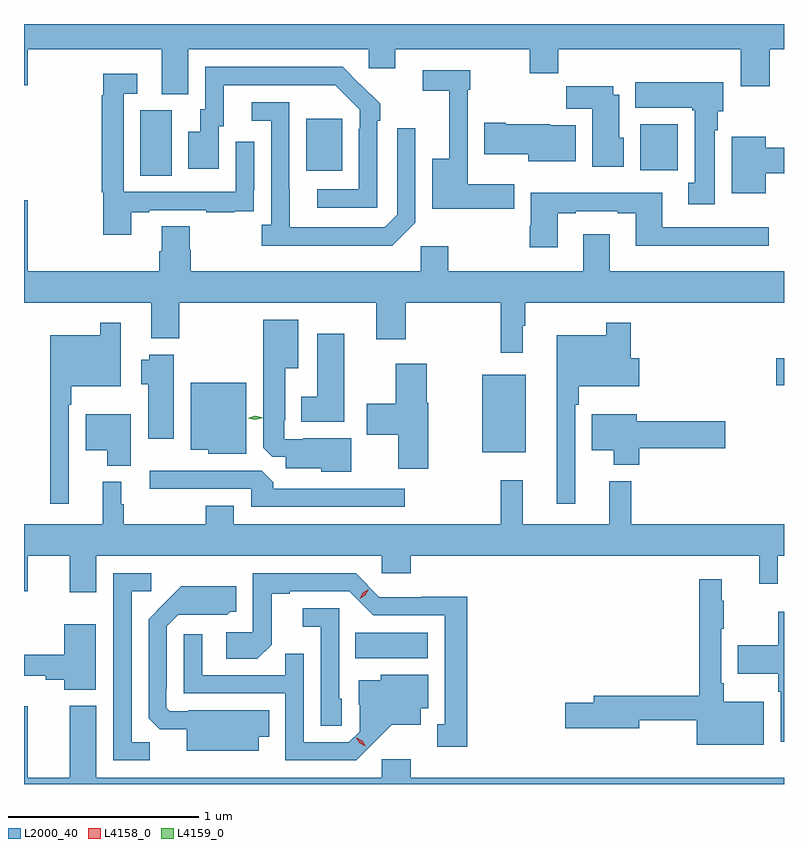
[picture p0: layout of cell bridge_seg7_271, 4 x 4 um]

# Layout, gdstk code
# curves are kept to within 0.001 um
import gdstk
lib = gdstk.Library(unit=1e-6, precision=1e-09)
def R(c, l, rs):  # rectangles x0, y0, x1, y1
    for r in rs: c.add(gdstk.rectangle(r[:2], r[2:], *l))
def P(c, l, *ps):  # polygons
    for p in ps: c.add(gdstk.Polygon(p, *l))
L2000_40 = (2000, 40)
L4158_0 = (4158, 0)
L4159_0 = (4159, 0)

bridge_seg7_271 = lib.new_cell('bridge_seg7_271')
R(bridge_seg7_271, L2000_40, [(142.918,1026.716,143.299,1026.85), (143.588,1027.799,143.815,1028.209), (145.134,1028.153,145.175,1028.295), (141.788,1029.256,141.952,1029.6), (142.661,1029.281,142.849,1029.555), (144.419,1029.284,144.616,1029.526)])
P(bridge_seg7_271, L2000_40, [(141.175,1029.732),(141.196,1029.732),(141.196,1029.92),(141.899,1029.92),(141.899,1029.685),(142.039,1029.685),(142.039,1029.92),(142.989,1029.92),(142.989,1029.822),(143.128,1029.822),(143.128,1029.92),(143.836,1029.92),(143.836,1029.796),(143.987,1029.796),(143.987,1029.92),(144.947,1029.92),(144.947,1029.726),(145.1,1029.726),(145.1,1029.92),(145.175,1029.92),(145.175,1030.054),(141.175,1030.054)],
  [(143.034,1029.545),(143.049,1029.545),(143.049,1029.633),(142.852,1029.828),(142.128,1029.828),(142.128,1029.606),(142.103,1029.606),(142.103,1029.487),(142.04,1029.487),(142.04,1029.291),(142.201,1029.291),(142.201,1029.516),(142.225,1029.516),(142.225,1029.732),(142.813,1029.732),(142.941,1029.603),(142.941,1029.503),(142.938,1029.503),(142.938,1029.183),(142.719,1029.183),(142.719,1029.087),(143.034,1029.087)],
  [(143.755,1029.211),(143.511,1029.211),(143.511,1029.707),(143.524,1029.707),(143.524,1029.81),(143.274,1029.81),(143.274,1029.702),(143.414,1029.702),(143.414,1029.346),(143.324,1029.346),(143.324,1029.082),(143.755,1029.082)],
  [(141.739,1029.063),(141.835,1029.063),(141.835,1029.075),(142.135,1029.075),(142.135,1029.063),(142.283,1029.063),(142.283,1029.069),(142.385,1029.069),(142.385,1029.178),(142.386,1029.178),(142.386,1029.433),(142.29,1029.433),(142.29,1029.171),(141.699,1029.171),(141.699,1029.687),(141.772,1029.687),(141.772,1029.793),(141.591,1029.793),(141.591,1029.68),(141.583,1029.68),(141.583,1029.168),(141.591,1029.168),(141.591,1028.946),(141.739,1028.946)],
  [(144.811,1029.494),(144.826,1029.494),(144.826,1029.594),(144.856,1029.594),(144.856,1029.748),(144.392,1029.748),(144.392,1029.614),(144.691,1029.614),(144.691,1029.601),(144.704,1029.601),(144.704,1029.218),(144.671,1029.218),(144.671,1029.105),(144.811,1029.105)],
  [(144.331,1029.456),(144.307,1029.456),(144.307,1029.682),(144.277,1029.682),(144.277,1029.727),(144.028,1029.727),(144.028,1029.608),(144.167,1029.608),(144.167,1029.302),(144.331,1029.302)],
  [(143.235,1029.009),(143.235,1029.505),(143.139,1029.505),(143.139,1029.051),(143.073,1028.985),(142.573,1028.985),(142.572,1029.642),(142.374,1029.642),(142.374,1029.546),(142.476,1029.546),(142.476,1028.998),(142.425,1028.998),(142.425,1028.888),(143.114,1028.888)],
  [(144.079,1029.52),(143.946,1029.52),(143.946,1029.526),(143.71,1029.526),(143.71,1029.534),(143.598,1029.534),(143.598,1029.368),(143.828,1029.368),(143.828,1029.332),(144.079,1029.332)],
  [(145.078,1029.268),(145.175,1029.268),(145.175,1029.404),(145.078,1029.404),(145.078,1029.46),(144.899,1029.46),(144.899,1029.164),(145.078,1029.164)],
  [(143.983,1029.057),(144.079,1029.057),(144.079,1029.069),(144.299,1029.069),(144.299,1029.057),(144.395,1029.057),(144.395,1028.888),(145.096,1028.888),(145.096,1028.985),(144.535,1028.985),(144.535,1029.166),(143.843,1029.166),(143.843,1028.993),(143.836,1028.993),(143.836,1028.88),(143.983,1028.88)],
  [(143.8,1028.465),(143.812,1028.465),(143.812,1028.588),(145.175,1028.588),(145.175,1028.752),(144.259,1028.752),(144.259,1028.947),(144.119,1028.947),(144.119,1028.752),(143.409,1028.752),(143.409,1028.884),(143.262,1028.884),(143.262,1028.752),(142.052,1028.752),(142.052,1028.865),(142.047,1028.865),(142.047,1028.99),(141.899,1028.99),(141.899,1028.858),(141.887,1028.858),(141.887,1028.752),(141.196,1028.752),(141.196,1029.127),(141.175,1029.127),(141.175,1028.588),(141.845,1028.588),(141.845,1028.399),(141.993,1028.399),(141.993,1028.588),(143.03,1028.588),(143.03,1028.394),(143.183,1028.394),(143.183,1028.588),(143.683,1028.588),(143.683,1028.325),(143.8,1028.325)],
  [(142.897,1027.873),(142.645,1027.873),(142.645,1027.869),(142.545,1027.869),(142.545,1027.969),(142.549,1027.969),(142.549,1028.243),(142.618,1028.243),(142.618,1028.497),(142.433,1028.497),(142.433,1027.825),(142.482,1027.776),(142.553,1027.776),(142.553,1027.715),(142.74,1027.715),(142.74,1027.697),(142.897,1027.697)],
  [(144.075,1028.051),(144.095,1028.051),(144.095,1028.147),(144.412,1028.147),(144.412,1028.295),(144.368,1028.295),(144.368,1028.482),(144.24,1028.482),(144.24,1028.416),(143.978,1028.416),(143.978,1027.53),(144.075,1027.53)],
  [(141.411,1028.051),(141.424,1028.051),(141.424,1028.147),(141.684,1028.147),(141.684,1028.482),(141.576,1028.482),(141.576,1028.416),(141.314,1028.416),(141.314,1027.53),(141.411,1027.53)],
  [(142.861,1028.425),(142.718,1028.425),(142.718,1028.092),(142.634,1028.092),(142.634,1027.961),(142.861,1027.961)],
  [(141.964,1028.314),(141.834,1028.314),(141.834,1028.287),(141.791,1028.287),(141.791,1028.158),(141.83,1028.158),(141.83,1027.872),(141.964,1027.872)],
  [(143.302,1028.061),(143.295,1028.061),(143.295,1028.266),(143.132,1028.266),(143.132,1028.055),(142.98,1028.055),(142.98,1027.892),(143.144,1027.892),(143.144,1027.713),(143.302,1027.713)],
  [(142.345,1028.167),(142.052,1028.167),(142.052,1027.814),(142.146,1027.814),(142.146,1027.793),(142.345,1027.793)],
  [(144.413,1027.822),(144.865,1027.822),(144.865,1027.964),(144.4,1027.964),(144.4,1027.999),(144.164,1027.999),(144.164,1027.811),(144.278,1027.811),(144.278,1027.733),(144.413,1027.733)],
  [(141.736,1027.999),(141.5,1027.999),(141.5,1027.811),(141.614,1027.811),(141.614,1027.73),(141.736,1027.73)],
  [(143.179,1027.608),(142.487,1027.608),(142.487,1027.642),(142.425,1027.704),(141.837,1027.704),(141.837,1027.608),(142.371,1027.608),(142.371,1027.512),(143.179,1027.512)],
  [(141.556,1027.256),(143.058,1027.256),(143.058,1027.163),(143.21,1027.163),(143.21,1027.256),(145.046,1027.256),(145.046,1027.107),(145.143,1027.107),(145.143,1027.256),(145.175,1027.256),(145.175,1027.42),(144.371,1027.42),(144.371,1027.648),(144.254,1027.648),(144.254,1027.42),(143.801,1027.42),(143.801,1027.654),(143.683,1027.654),(143.683,1027.42),(142.279,1027.42),(142.279,1027.519),(142.132,1027.519),(142.132,1027.42),(141.7,1027.42),(141.7,1027.527),(141.688,1027.527),(141.688,1027.645),(141.59,1027.645),(141.59,1027.42),(141.175,1027.42),(141.175,1027.068),(141.196,1027.068),(141.196,1027.256),(141.416,1027.256),(141.416,1027.062),(141.556,1027.062)],
  [(141.837,1026.275),(141.741,1026.275),(141.741,1027.068),(141.844,1027.068),(141.844,1027.164),(141.645,1027.164),(141.645,1026.18),(141.837,1026.18)],
  [(143.509,1027.04),(143.268,1027.04),(143.268,1027.038),(143.046,1027.038),(142.92,1027.164),(142.38,1027.164),(142.38,1026.852),(142.239,1026.852),(142.239,1026.712),(142.403,1026.712),(142.479,1026.788),(142.479,1027.055),(142.573,1027.055),(142.573,1027.068),(142.887,1027.068),(143.013,1026.942),(143.39,1026.942),(143.39,1026.369),(143.351,1026.369),(143.351,1026.249),(143.509,1026.249)],
  [(145.069,1026.487),(144.859,1026.487),(144.859,1026.583),(144.846,1026.583),(144.846,1026.871),(144.859,1026.871),(144.859,1027.019),(144.848,1027.019),(144.848,1027.132),(144.73,1027.132),(144.73,1026.518),(144.173,1026.518),(144.173,1026.482),(144.024,1026.482),(144.024,1026.347),(144.412,1026.347),(144.412,1026.39),(144.716,1026.39),(144.716,1026.26),(145.069,1026.26)],
  [(142.411,1026.302),(142.466,1026.302),(142.466,1026.442),(142.042,1026.442),(142.042,1026.438),(141.942,1026.438),(141.924,1026.456),(141.924,1026.556),(141.927,1026.556),(141.927,1026.885),(141.987,1026.945),(142.244,1026.944),(142.26,1026.96),(142.291,1026.96),(142.291,1027.096),(142.003,1027.096),(141.831,1026.922),(141.831,1026.4),(141.89,1026.341),(142.031,1026.341),(142.031,1026.23),(142.411,1026.23)],
  [(142.848,1026.504),(142.833,1026.504),(142.833,1026.978),(142.641,1026.978),(142.641,1026.881),(142.737,1026.881),(142.737,1026.361),(142.848,1026.361)],
  [(145.175,1026.961),(145.146,1026.961),(145.146,1026.783),(144.931,1026.783),(144.931,1026.635),(145.146,1026.635),(145.146,1026.539),(145.158,1026.539),(145.158,1026.276),(145.175,1026.276)],
  [(141.553,1026.895),(141.386,1026.895),(141.386,1026.733),(141.175,1026.733),(141.175,1026.623),(141.29,1026.623),(141.29,1026.604),(141.386,1026.604),(141.386,1026.551),(141.553,1026.551)],
  [(143.008,1026.263),(143.111,1026.365),(143.263,1026.365),(143.263,1026.452),(143.302,1026.452),(143.302,1026.628),(143.052,1026.628),(143.052,1026.601),(142.937,1026.601),(142.937,1026.472),(142.941,1026.472),(142.941,1026.33),(142.884,1026.273),(142.647,1026.273),(142.647,1026.74),(142.549,1026.74),(142.549,1026.627),(142.113,1026.627),(142.113,1026.841),(142.017,1026.841),(142.017,1026.531),(142.551,1026.531),(142.551,1026.18),(142.924,1026.18)],
  [(145.175,1026.088),(143.21,1026.088),(143.21,1026.184),(143.058,1026.184),(143.058,1026.088),(141.556,1026.088),(141.556,1026.466),(141.416,1026.466),(141.416,1026.088),(141.196,1026.088),(141.196,1026.463),(141.175,1026.463),(141.175,1026.054),(145.175,1026.054)])
P(bridge_seg7_271, L4158_0, [(142.941,1027.028),(142.941,1027.028),(142.958,1027.061),(142.989,1027.08),(142.989,1027.08),(142.989,1027.08),(142.972,1027.047),(142.941,1027.028)],
  [(142.973,1026.253),(142.942,1026.268),(142.924,1026.297),(142.924,1026.297),(142.925,1026.297),(142.956,1026.282),(142.974,1026.253),(142.974,1026.253)])
P(bridge_seg7_271, L4159_0, [(142.393,1027.971),(142.352,1027.98),(142.352,1027.98),(142.352,1027.98),(142.393,1027.991),(142.434,1027.982),(142.434,1027.982),(142.434,1027.981)])

lib.write_gds('bridge_seg7_271.gds')
